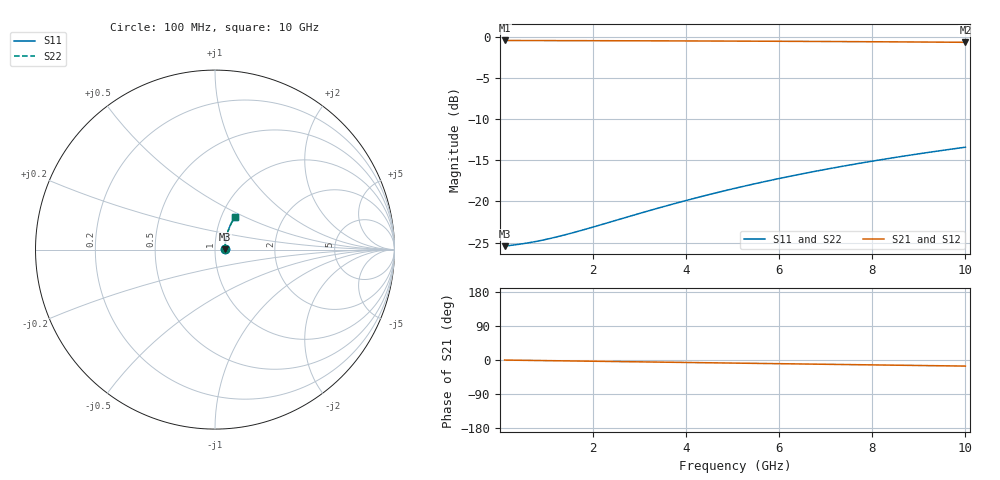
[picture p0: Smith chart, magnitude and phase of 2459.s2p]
# Hz S RI R 50.00
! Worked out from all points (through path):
!   100 points, 100 MHz to 10 GHz, reference 50 ohm
!   highest |S21| = -0.48 dB at 100 MHz (marker M1); lowest = -0.7 dB at 10 GHz (marker M2)
!   group delay of S21, straight-line fit = 4.46 ps
!   lowest |S11| = -25.4 dB at 100 MHz (marker M3), VSWR 1.11, Z = 55.7 + j0.22 ohm
!   |S11| at or under -10 dB: start of sweep to end of sweep
!   |S22| runs from -25.4 to -13.4 dB; largest |S21 - S12| = 0
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1e8  0.0536 0.00197  0.9464 -0.0027  0.9464 -0.0027  0.0536 0.00197
5e8  0.0546 0.00983  0.9453 -0.0135  0.9453 -0.0135  0.0546 0.00983
7e8  0.055 0.0138  0.9449 -0.0188  0.9449 -0.0188  0.055 0.0138
9e8  0.0555 0.0177  0.9445 -0.0242  0.9445 -0.0242  0.0555 0.0177
1.1e9  0.0559 0.0216  0.9441 -0.0296  0.9441 -0.0296  0.0559 0.0216
1.3e9  0.0563 0.0255  0.9436 -0.0349  0.9436 -0.0349  0.0563 0.0255
1.5e9  0.0568 0.0294  0.9432 -0.0403  0.9432 -0.0403  0.0568 0.0294
1.8e9  0.0575 0.0352  0.9424 -0.0483  0.9424 -0.0483  0.0575 0.0352
3e9  0.0613 0.0584  0.9384 -0.0801  0.9384 -0.0801  0.0613 0.0584
3.4e9  0.0629 0.066  0.9368 -0.0907  0.9368 -0.0907  0.0629 0.066
3.9e9  0.065 0.0755  0.9345 -0.1038  0.9345 -0.1038  0.065 0.0755
4.3e9  0.067 0.0831  0.9325 -0.1142  0.9325 -0.1142  0.067 0.0831
4.7e9  0.069 0.0905  0.9303 -0.1246  0.9303 -0.1246  0.069 0.0905
5.1e9  0.0713 0.098  0.928 -0.1349  0.928 -0.1349  0.0713 0.098
5.5e9  0.0737 0.1053  0.9255 -0.1452  0.9255 -0.1452  0.0737 0.1053
5.9e9  0.0762 0.1126  0.9228 -0.1554  0.9228 -0.1554  0.0762 0.1126
6.3e9  0.0789 0.1198  0.92 -0.1655  0.92 -0.1655  0.0789 0.1198
6.7e9  0.0818 0.1269  0.9169 -0.1755  0.9169 -0.1755  0.0818 0.1269
7.5e9  0.088 0.1409  0.9105 -0.1954  0.9105 -0.1954  0.088 0.1409
8.4e9  0.0956 0.1563  0.9025 -0.2172  0.9025 -0.2172  0.0956 0.1563
9.2e9  0.1029 0.1695  0.8947 -0.2363  0.8947 -0.2363  0.1029 0.1695
1e10  0.1108 0.1823  0.8864 -0.2549  0.8864 -0.2549  0.1108 0.1823
